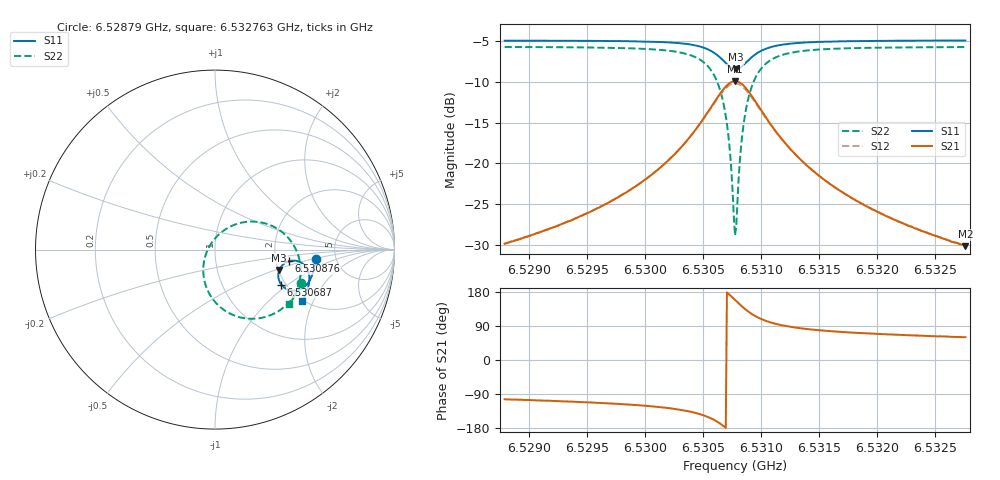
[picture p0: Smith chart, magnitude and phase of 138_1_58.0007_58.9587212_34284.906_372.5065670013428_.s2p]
#  HZ  S  RI  R  50.00
! Rohde & Schwarz Vector Network Analyzer
! Rohde-Schwarz,ZNB20-2Port,1311601062101988,3.16
! Created: UTC 3/21/2024, 12:56:24 AM
! freq[Hz]  re:S11  im:S11  re:S21  im:S21  re:S12  im:S12  re:S22  im:S22
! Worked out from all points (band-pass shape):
!   401 points, 6.52879 GHz to 6.532763 GHz, reference 50 ohm
!   highest |S21| = -9.93 dB at 6.530776 GHz (marker M1); lowest = -30.1 dB at 6.532763 GHz (marker M2)
!   |S21| within 3 dB of the highest: 6.530579 GHz to 6.530976 GHz (396.9 kHz wide, 0.00608 % of centre)
!   lowest |S11| = -8.5 dB at 6.530786 GHz (marker M3), VSWR 2.20, Z = 101 - j26.8 ohm
!   |S11| at or under -10 dB: nowhere
!   |S22| runs from -28.8 to -5.8 dB; largest |S21 - S12| = 0.013
!   S11 on the Smith chart (normalised r, x): 6.52879 GHz: 3.49, -0.54; 6.530687 GHz: 1.89, -0.90; 6.530876 GHz: 2.36, -0.37; 6.532763 GHz: 1.97, -1.66
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6.5287903e9  0.5608 -0.0527  -0.00754 -0.0314  -0.00828 -0.0313  0.4817 -0.1834
6.5294557e9  0.5513 -0.1089  -0.0173 -0.0446  -0.0184 -0.0443  0.4492 -0.2463
6.5298529e9  0.5394 -0.1471  -0.0311 -0.0599  -0.0328 -0.0591  0.4125 -0.2941
6.530121e9  0.5242 -0.1773  -0.052 -0.077  -0.0543 -0.0754  0.3646 -0.3355
6.5303494e9  0.4971 -0.2077  -0.093 -0.0973  -0.0959 -0.094  0.281 -0.3752
6.5305182e9  0.4525 -0.228  -0.1636 -0.1044  -0.1662 -0.0976  0.1507 -0.38
6.5306175e9  0.4061 -0.223  -0.2358 -0.0776  -0.235 -0.0672  0.0294 -0.3206
6.5306871e9  0.3694 -0.195  -0.2896 -0.0172  -0.2834 -0.00651  -0.0488 -0.2083
6.5307268e9  0.3553 -0.1661  -0.3064 0.0377  -0.2967 0.0464  -0.0656 -0.1141
6.5307665e9  0.3535 -0.1313  -0.3017 0.1003  -0.2901 0.1054  -0.0455 -0.0121
6.5307764e9  0.3555 -0.1226  -0.2967 0.116  -0.2849 0.1197  -0.0342 0.012
6.5307864e9  0.3582 -0.1141  -0.2901 0.1307  -0.2783 0.1336  -0.0205 0.0351
6.5307963e9  0.362 -0.1059  -0.2822 0.1449  -0.2705 0.1467  -0.00465 0.0564
6.5308162e9  0.3718 -0.0912  -0.2625 0.1699  -0.2516 0.1698  0.0322 0.0937
6.530836e9  0.3839 -0.0793  -0.2394 0.1902  -0.2295 0.1884  0.074 0.1224
6.5308757e9  0.4118 -0.0646  -0.1888 0.2144  -0.1814 0.211  0.1621 0.1529
6.5309453e9  0.4565 -0.0633  -0.1105 0.217  -0.1068 0.2138  0.2936 0.1417
6.5310446e9  0.496 -0.085  -0.043 0.1852  -0.0413 0.1834  0.4023 0.0714
6.5311935e9  0.5195 -0.1215  -0.00223 0.1372  -0.00089 0.1364  0.4621 -0.027
6.5314418e9  0.5261 -0.1654  0.0154 0.0898  0.0165 0.0894  0.477 -0.1272
6.5321071e9  0.5101 -0.2364  0.0177 0.0432  0.0188 0.0429  0.4485 -0.2451
6.5327626e9  0.4864 -0.2871  0.0154 0.0271  0.0162 0.027  0.4145 -0.3052
